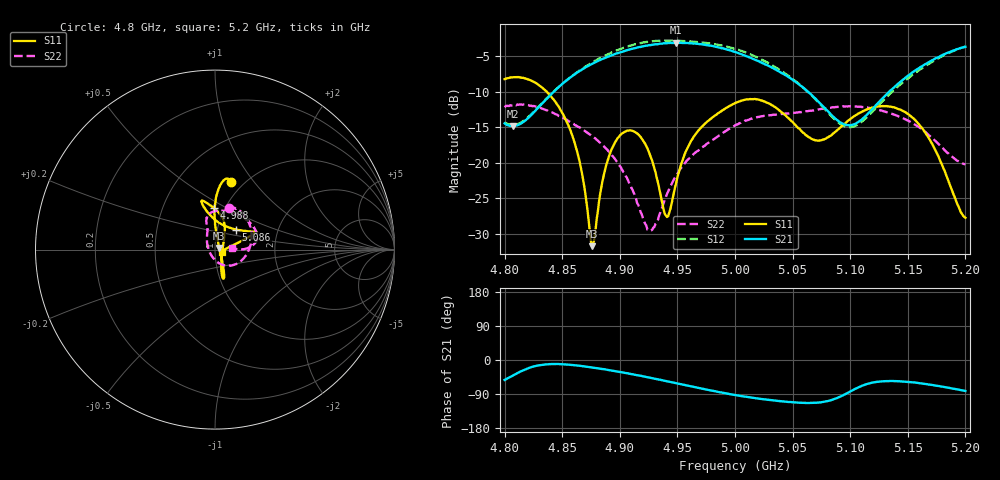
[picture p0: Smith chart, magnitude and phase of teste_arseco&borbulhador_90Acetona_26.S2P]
! Network Analyzer HP8722D
! Hewlett-Packard
! Data name: Linha & Wilkinson
! Saver's name: Rodrigo Anjos
! Comments: Teste da utilização de aquisição
! continua pelo VNA HP8722D
! Time and date: 17/4/2025 11:16
!  Frequency  S11  S21  S12  S22
# HZ  S  MA R 50
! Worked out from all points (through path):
!   401 points, 4.8 GHz to 5.2 GHz, reference 50 ohm
!   highest |S21| = -3.06 dB at 4.949 GHz (marker M1); lowest = -14.8 dB at 4.807 GHz (marker M2)
!   lowest |S11| = -31.8 dB at 4.876 GHz (marker M3), VSWR 1.05, Z = 52.5 + j0.959 ohm
!   |S11| at or under -10 dB: 4.837 GHz to end of sweep
!   |S22| runs from -29.6 to -11.8 dB; largest |S21 - S12| = 1.4
!   S11 on the Smith chart (normalised r, x): 4.8 GHz: 0.87, +0.78; 4.988 GHz: 0.89, +0.43; 5.086 GHz: 1.23, +0.28; 5.2 GHz: 1.08, -0.03
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4.8e9  0.3895 76.8  0.1896 -52.7  0.1926 82.4  0.2464 71.8
4.807e9  0.4008 78.9  0.1815 -41.4  0.1841 92.5  0.2542 65.7
4.845e9  0.2623 89.8  0.3305 -10.7  0.3314 122.7  0.219 21.0
4.858e9  0.1618 90.1  0.4056 -13.0  0.4063 122.4  0.1916 1.5
4.867e9  0.08567 84.4  0.454 -16.2  0.4589 121.0  0.1732 -12.3
4.876e9  0.02577 20.8  0.499 -19.8  0.5097 118.8  0.1545 -26.7
4.889e9  0.1008 -63.8  0.5578 -25.8  0.5801 114.4  0.1242 -46.2
4.902e9  0.1611 -71.7  0.6063 -32.7  0.6419 108.9  0.08903 -66.7
4.924e9  0.1259 -73.5  0.6699 -45.6  0.713 96.5  0.03366 -138.0
4.934e9  0.06703 -57.7  0.6889 -51.8  0.7269 90.2  0.04207 159.7
4.941e9  0.04138 -6.1  0.698 -56.0  0.7284 85.8  0.0602 137.9
4.949e9  0.07221 47.4  0.7031 -61.2  0.7274 80.5  0.08131 124.3
4.963e9  0.147 68.9  0.6951 -70.2  0.7157 71.9  0.1122 111.9
4.988e9  0.2306 91.6  0.6434 -85.6  0.6745 55.7  0.1594 107.6
5e9  0.2637 99.9  0.6052 -92.5  0.6391 48.3  0.1832 104.8
5.029e9  0.2633 105.5  0.4828 -105.1  0.5052 33.4  0.2162 88.0
5.067e9  0.1467 76.4  0.298 -113.3  0.2965 27.7  0.2333 54.3
5.086e9  0.1624 43.5  0.209 -103.4  0.2043 39.5  0.2459 36.4
5.105e9  0.217 27.9  0.1892 -75.2  0.1828 69.5  0.2494 21.9
5.134e9  0.2493 23.1  0.318 -55.4  0.3038 91.0  0.2243 8.8
5.165e9  0.1638 18.7  0.4958 -63.2  0.4788 84.7  0.1655 1.1
5.2e9  0.04082 -17.1  0.658 -81.7  0.661 67.5  0.09729 5.4
